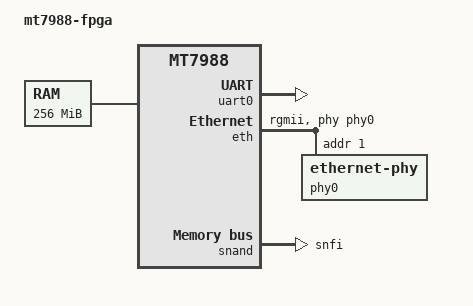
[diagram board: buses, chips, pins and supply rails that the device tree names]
// SPDX-License-Identifier: GPL-2.0
/*
 * Copyright (c) 2021 MediaTek Inc.
 * Author: Sam Shih <sam.shih@mediatek.com>
 */

/dts-v1/;
#include "mt7988-fpga.dtsi"
#include <dt-bindings/gpio/gpio.h>

/ {
	model = "mt7988-fpga";
	compatible = "mediatek,mt7988-fpga";
	chosen {
		stdout-path = &uart0;
	};

	memory@40000000 {
		device_type = "memory";
		reg = <0 0x40000000 0 0x10000000>;
	};
};

&pinctrl {
	snfi_pins: spi0-snfi-pins {
		mux {
			function = "flash";
			groups = "snfi";
		};
	};
};

&uart0 {
	status = "okay";
};

&eth {
	status = "okay";
	mediatek,gmac-id = <0>;
	phy-mode = "rgmii";
	phy-handle = <&phy0>;

	phy0: ethernet-phy@0 {
		reg = <1>;
	};
};

&snand {
	pinctrl-names = "default";
	pinctrl-0 = <&snfi_pins>;
	status = "okay";
	quad-spi;
};

